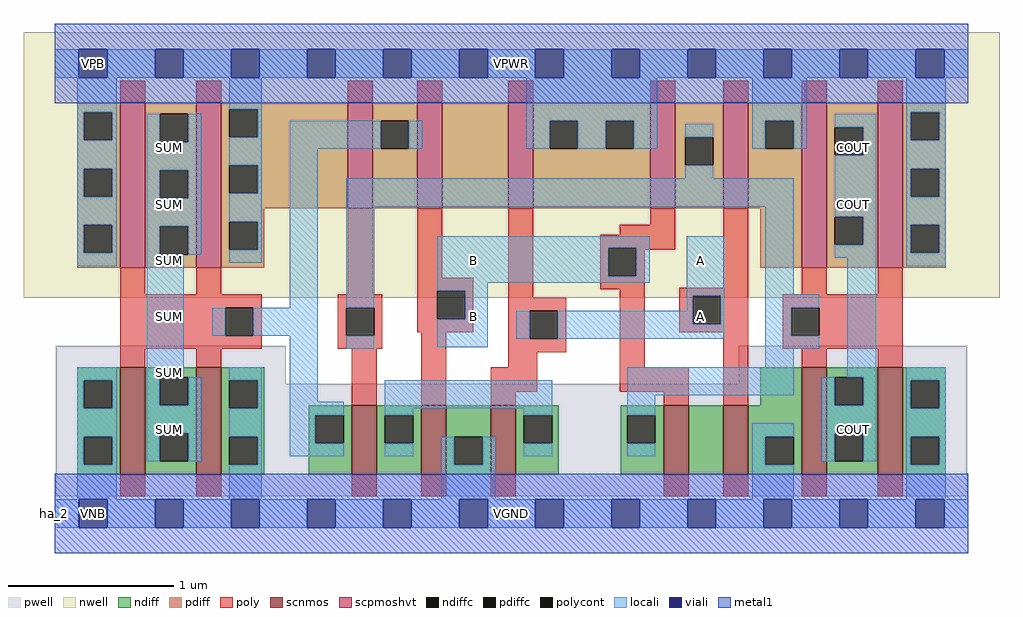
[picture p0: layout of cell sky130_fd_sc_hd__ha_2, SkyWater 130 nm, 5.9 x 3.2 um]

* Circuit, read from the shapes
.subckt sky130_fd_sc_hd__ha_2 A B VGND VNB VPB VPWR COUT SUM
XM1 SUM n1 VGND VNB sky130_fd_pr__nfet_01v8 w=0.65 l=0.15 m=2
XM2 n2 n3 n1 VNB sky130_fd_pr__nfet_01v8 w=0.42 l=0.15
XM3 VGND B n2 VNB sky130_fd_pr__nfet_01v8 w=0.42 l=0.15
XM4 n2 A VGND VNB sky130_fd_pr__nfet_01v8 w=0.42 l=0.15
XM5 n4 B n3 VNB sky130_fd_pr__nfet_01v8 w=0.42 l=0.15
XM6 VGND A n4 VNB sky130_fd_pr__nfet_01v8 w=0.42 l=0.15
XM7 COUT n3 VGND VNB sky130_fd_pr__nfet_01v8 w=0.65 l=0.15 m=2
XM8 SUM n1 VPWR VPB sky130_fd_pr__pfet_01v8_hvt w=1 l=0.15 m=2
XM9 n1 n3 VPWR VPB sky130_fd_pr__pfet_01v8_hvt w=0.64 l=0.15
XM10 n5 B n1 VPB sky130_fd_pr__pfet_01v8_hvt w=0.64 l=0.15
XM11 VPWR A n5 VPB sky130_fd_pr__pfet_01v8_hvt w=0.64 l=0.15
XM12 n3 B VPWR VPB sky130_fd_pr__pfet_01v8_hvt w=0.64 l=0.15
XM13 VPWR A n3 VPB sky130_fd_pr__pfet_01v8_hvt w=0.64 l=0.15
XM14 COUT n3 VPWR VPB sky130_fd_pr__pfet_01v8_hvt w=1 l=0.15 m=2
.ends

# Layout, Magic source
magic
tech sky130A
magscale 1 2
<< nwell >>
rect -38 261 1142 582
<< pwell >>
rect 1 157 279 203
rect 827 157 1103 203
rect 1 21 1103 157
rect 30 -17 64 21
<< scnmos >>
rect 79 47 109 177
rect 171 47 201 177
rect 359 47 389 131
rect 443 47 473 131
rect 527 47 557 131
rect 736 47 766 131
rect 808 47 838 131
rect 903 47 933 177
rect 995 47 1025 177
<< scpmoshvt >>
rect 79 297 109 497
rect 171 297 201 497
rect 354 369 384 497
rect 438 369 468 497
rect 548 369 578 497
rect 720 369 750 497
rect 808 369 838 497
rect 903 297 933 497
rect 995 297 1025 497
<< ndiff >>
rect 27 161 79 177
rect 27 127 35 161
rect 69 127 79 161
rect 27 93 79 127
rect 27 59 35 93
rect 69 59 79 93
rect 27 47 79 59
rect 109 165 171 177
rect 109 131 127 165
rect 161 131 171 165
rect 109 97 171 131
rect 109 63 127 97
rect 161 63 171 97
rect 109 47 171 63
rect 201 161 253 177
rect 201 127 211 161
rect 245 127 253 161
rect 853 131 903 177
rect 201 93 253 127
rect 201 59 211 93
rect 245 59 253 93
rect 201 47 253 59
rect 307 119 359 131
rect 307 85 315 119
rect 349 85 359 119
rect 307 47 359 85
rect 389 119 443 131
rect 389 85 399 119
rect 433 85 443 119
rect 389 47 443 85
rect 473 93 527 131
rect 473 59 483 93
rect 517 59 527 93
rect 473 47 527 59
rect 557 119 609 131
rect 557 85 567 119
rect 601 85 609 119
rect 557 47 609 85
rect 684 119 736 131
rect 684 85 692 119
rect 726 85 736 119
rect 684 47 736 85
rect 766 47 808 131
rect 838 93 903 131
rect 838 59 859 93
rect 893 59 903 93
rect 838 47 903 59
rect 933 165 995 177
rect 933 131 943 165
rect 977 131 995 165
rect 933 97 995 131
rect 933 63 943 97
rect 977 63 995 97
rect 933 47 995 63
rect 1025 161 1077 177
rect 1025 127 1035 161
rect 1069 127 1077 161
rect 1025 93 1077 127
rect 1025 59 1035 93
rect 1069 59 1077 93
rect 1025 47 1077 59
<< pdiff >>
rect 27 485 79 497
rect 27 451 35 485
rect 69 451 79 485
rect 27 417 79 451
rect 27 383 35 417
rect 69 383 79 417
rect 27 349 79 383
rect 27 315 35 349
rect 69 315 79 349
rect 27 297 79 315
rect 109 483 171 497
rect 109 449 127 483
rect 161 449 171 483
rect 109 415 171 449
rect 109 381 127 415
rect 161 381 171 415
rect 109 347 171 381
rect 109 313 127 347
rect 161 313 171 347
rect 109 297 171 313
rect 201 489 354 497
rect 201 455 211 489
rect 245 455 354 489
rect 201 421 354 455
rect 201 387 211 421
rect 245 387 354 421
rect 201 369 354 387
rect 384 475 438 497
rect 384 441 394 475
rect 428 441 438 475
rect 384 369 438 441
rect 468 369 548 497
rect 578 475 720 497
rect 578 441 598 475
rect 632 441 666 475
rect 700 441 720 475
rect 578 369 720 441
rect 750 455 808 497
rect 750 421 762 455
rect 796 421 808 455
rect 750 369 808 421
rect 838 475 903 497
rect 838 441 859 475
rect 893 441 903 475
rect 838 369 903 441
rect 201 353 253 369
rect 201 319 211 353
rect 245 319 253 353
rect 201 297 253 319
rect 853 297 903 369
rect 933 467 995 497
rect 933 433 943 467
rect 977 433 995 467
rect 933 359 995 433
rect 933 325 943 359
rect 977 325 995 359
rect 933 297 995 325
rect 1025 485 1077 497
rect 1025 451 1035 485
rect 1069 451 1077 485
rect 1025 417 1077 451
rect 1025 383 1035 417
rect 1069 383 1077 417
rect 1025 349 1077 383
rect 1025 315 1035 349
rect 1069 315 1077 349
rect 1025 297 1077 315
<< ndiffc >>
rect 35 127 69 161
rect 35 59 69 93
rect 127 131 161 165
rect 127 63 161 97
rect 211 127 245 161
rect 211 59 245 93
rect 315 85 349 119
rect 399 85 433 119
rect 483 59 517 93
rect 567 85 601 119
rect 692 85 726 119
rect 859 59 893 93
rect 943 131 977 165
rect 943 63 977 97
rect 1035 127 1069 161
rect 1035 59 1069 93
<< pdiffc >>
rect 35 451 69 485
rect 35 383 69 417
rect 35 315 69 349
rect 127 449 161 483
rect 127 381 161 415
rect 127 313 161 347
rect 211 455 245 489
rect 211 387 245 421
rect 394 441 428 475
rect 598 441 632 475
rect 666 441 700 475
rect 762 421 796 455
rect 859 441 893 475
rect 211 319 245 353
rect 943 433 977 467
rect 943 325 977 359
rect 1035 451 1069 485
rect 1035 383 1069 417
rect 1035 315 1069 349
<< poly >>
rect 79 497 109 523
rect 171 497 201 523
rect 354 497 384 523
rect 438 497 468 523
rect 548 497 578 523
rect 720 497 750 523
rect 808 497 838 523
rect 903 497 933 523
rect 995 497 1025 523
rect 79 265 109 297
rect 171 265 201 297
rect 354 265 384 369
rect 438 285 468 369
rect 438 269 506 285
rect 79 249 250 265
rect 79 215 206 249
rect 240 215 250 249
rect 79 199 250 215
rect 342 249 396 265
rect 342 215 352 249
rect 386 215 396 249
rect 438 235 462 269
rect 496 235 506 269
rect 438 219 506 235
rect 548 261 578 369
rect 720 349 750 369
rect 683 337 750 349
rect 659 321 750 337
rect 659 287 669 321
rect 703 319 750 321
rect 703 287 713 319
rect 659 271 713 287
rect 808 273 838 369
rect 548 245 618 261
rect 342 199 396 215
rect 79 177 109 199
rect 171 177 201 199
rect 359 131 389 199
rect 443 131 473 219
rect 548 211 574 245
rect 608 211 618 245
rect 548 195 618 211
rect 548 177 583 195
rect 527 147 583 177
rect 683 177 713 271
rect 755 263 838 273
rect 903 265 933 297
rect 995 265 1025 297
rect 755 229 771 263
rect 805 229 838 263
rect 755 219 838 229
rect 683 147 766 177
rect 527 131 557 147
rect 736 131 766 147
rect 808 131 838 219
rect 880 249 1025 265
rect 880 215 890 249
rect 924 215 1025 249
rect 880 199 1025 215
rect 903 177 933 199
rect 995 177 1025 199
rect 79 21 109 47
rect 171 21 201 47
rect 359 21 389 47
rect 443 21 473 47
rect 527 21 557 47
rect 736 21 766 47
rect 808 21 838 47
rect 903 21 933 47
rect 995 21 1025 47
<< polycont >>
rect 206 215 240 249
rect 352 215 386 249
rect 462 235 496 269
rect 669 287 703 321
rect 574 211 608 245
rect 771 229 805 263
rect 890 215 924 249
<< locali >>
rect 0 527 29 561
rect 63 527 121 561
rect 155 527 213 561
rect 247 527 305 561
rect 339 527 397 561
rect 431 527 489 561
rect 523 527 581 561
rect 615 527 673 561
rect 707 527 765 561
rect 799 527 857 561
rect 891 527 949 561
rect 983 527 1041 561
rect 1075 527 1104 561
rect 27 485 75 527
rect 27 451 35 485
rect 69 451 75 485
rect 211 489 250 527
rect 27 417 75 451
rect 27 383 35 417
rect 69 383 75 417
rect 27 349 75 383
rect 27 315 35 349
rect 69 315 75 349
rect 27 299 75 315
rect 111 449 127 483
rect 161 449 177 483
rect 111 415 177 449
rect 111 381 127 415
rect 161 381 177 415
rect 111 347 177 381
rect 111 313 127 347
rect 161 313 177 347
rect 245 455 250 489
rect 570 475 728 527
rect 211 421 250 455
rect 245 387 250 421
rect 211 353 250 387
rect 245 319 250 353
rect 27 161 75 177
rect 27 127 35 161
rect 69 127 75 161
rect 27 93 75 127
rect 27 59 35 93
rect 69 59 75 93
rect 111 165 156 313
rect 211 303 250 319
rect 284 441 394 475
rect 428 441 444 475
rect 570 441 598 475
rect 632 441 666 475
rect 700 441 728 475
rect 843 475 909 527
rect 1029 485 1077 527
rect 762 455 796 471
rect 284 249 318 441
rect 843 441 859 475
rect 893 441 909 475
rect 943 467 993 483
rect 762 405 796 421
rect 977 433 993 467
rect 190 215 206 249
rect 240 215 318 249
rect 111 131 127 165
rect 161 131 177 165
rect 111 97 177 131
rect 111 63 127 97
rect 161 63 177 97
rect 211 161 250 177
rect 245 127 250 161
rect 211 93 250 127
rect 27 17 75 59
rect 245 59 250 93
rect 284 135 318 215
rect 352 371 893 405
rect 352 249 386 371
rect 352 199 386 215
rect 462 321 719 335
rect 462 287 669 321
rect 703 287 719 321
rect 462 279 719 287
rect 462 269 523 279
rect 496 235 523 269
rect 764 263 809 335
rect 764 245 771 263
rect 462 201 523 235
rect 558 211 574 245
rect 608 229 771 245
rect 805 229 809 263
rect 608 211 809 229
rect 859 265 893 371
rect 943 359 993 433
rect 977 325 993 359
rect 943 309 993 325
rect 859 249 924 265
rect 859 215 890 249
rect 859 199 924 215
rect 859 177 893 199
rect 284 119 349 135
rect 284 85 315 119
rect 284 69 349 85
rect 399 127 601 161
rect 399 119 433 127
rect 567 119 601 127
rect 399 69 433 85
rect 211 17 250 59
rect 467 59 483 93
rect 517 59 533 93
rect 567 69 601 85
rect 692 143 893 177
rect 958 165 993 309
rect 1029 451 1035 485
rect 1069 451 1077 485
rect 1029 417 1077 451
rect 1029 383 1035 417
rect 1069 383 1077 417
rect 1029 349 1077 383
rect 1029 315 1035 349
rect 1069 315 1077 349
rect 1029 299 1077 315
rect 692 119 726 143
rect 927 131 943 165
rect 977 131 993 165
rect 692 69 726 85
rect 843 93 893 109
rect 467 17 533 59
rect 843 59 859 93
rect 927 97 993 131
rect 927 63 943 97
rect 977 63 993 97
rect 1029 161 1077 177
rect 1029 127 1035 161
rect 1069 127 1077 161
rect 1029 93 1077 127
rect 843 17 893 59
rect 1029 59 1035 93
rect 1069 59 1077 93
rect 1029 17 1077 59
rect 0 -17 29 17
rect 63 -17 121 17
rect 155 -17 213 17
rect 247 -17 305 17
rect 339 -17 397 17
rect 431 -17 489 17
rect 523 -17 581 17
rect 615 -17 673 17
rect 707 -17 765 17
rect 799 -17 857 17
rect 891 -17 949 17
rect 983 -17 1041 17
rect 1075 -17 1104 17
<< viali >>
rect 29 527 63 561
rect 121 527 155 561
rect 213 527 247 561
rect 305 527 339 561
rect 397 527 431 561
rect 489 527 523 561
rect 581 527 615 561
rect 673 527 707 561
rect 765 527 799 561
rect 857 527 891 561
rect 949 527 983 561
rect 1041 527 1075 561
rect 29 -17 63 17
rect 121 -17 155 17
rect 213 -17 247 17
rect 305 -17 339 17
rect 397 -17 431 17
rect 489 -17 523 17
rect 581 -17 615 17
rect 673 -17 707 17
rect 765 -17 799 17
rect 857 -17 891 17
rect 949 -17 983 17
rect 1041 -17 1075 17
<< metal1 >>
rect 0 561 1104 592
rect 0 527 29 561
rect 63 527 121 561
rect 155 527 213 561
rect 247 527 305 561
rect 339 527 397 561
rect 431 527 489 561
rect 523 527 581 561
rect 615 527 673 561
rect 707 527 765 561
rect 799 527 857 561
rect 891 527 949 561
rect 983 527 1041 561
rect 1075 527 1104 561
rect 0 496 1104 527
rect 0 17 1104 48
rect 0 -17 29 17
rect 63 -17 121 17
rect 155 -17 213 17
rect 247 -17 305 17
rect 339 -17 397 17
rect 431 -17 489 17
rect 523 -17 581 17
rect 615 -17 673 17
rect 707 -17 765 17
rect 799 -17 857 17
rect 891 -17 949 17
rect 983 -17 1041 17
rect 1075 -17 1104 17
rect 0 -48 1104 -17
<< labels >>
flabel pwell s 30 -17 64 17 0 FreeSans 200 0 0 0 VNB
port 4 nsew ground bidirectional
flabel nwell s 30 527 64 561 0 FreeSans 200 0 0 0 VPB
port 5 nsew power bidirectional
flabel metal1 s 30 -17 64 17 0 FreeSans 200 0 0 0 VGND
port 3 nsew ground bidirectional abutment
flabel metal1 s 30 527 64 561 0 FreeSans 200 0 0 0 VPWR
port 6 nsew power bidirectional abutment
flabel locali s 764 221 798 255 0 FreeSans 340 0 0 0 A
port 1 nsew signal input
flabel locali s 948 357 982 391 0 FreeSans 340 0 0 0 COUT
port 7 nsew signal output
flabel locali s 948 85 982 119 0 FreeSans 340 0 0 0 COUT
port 7 nsew signal output
flabel locali s 122 85 156 119 0 FreeSans 340 0 0 0 SUM
port 8 nsew signal output
flabel locali s 122 153 156 187 0 FreeSans 340 0 0 0 SUM
port 8 nsew signal output
flabel locali s 122 221 156 255 0 FreeSans 340 0 0 0 SUM
port 8 nsew signal output
flabel locali s 122 289 156 323 0 FreeSans 340 0 0 0 SUM
port 8 nsew signal output
flabel locali s 122 357 156 391 0 FreeSans 340 0 0 0 SUM
port 8 nsew signal output
flabel locali s 122 425 156 459 0 FreeSans 340 0 0 0 SUM
port 8 nsew signal output
flabel locali s 948 425 982 459 0 FreeSans 340 0 0 0 COUT
port 7 nsew signal output
flabel locali s 764 289 798 323 0 FreeSans 340 0 0 0 A
port 1 nsew signal input
flabel locali s 489 289 523 323 0 FreeSans 340 0 0 0 B
port 2 nsew signal input
flabel locali s 489 221 523 255 0 FreeSans 340 0 0 0 B
port 2 nsew signal input
rlabel comment s 0 0 0 0 4 ha_2
rlabel metal1 s 0 -48 1104 48 1 VGND
port 3 nsew ground bidirectional abutment
rlabel metal1 s 0 496 1104 592 1 VPWR
port 6 nsew power bidirectional abutment
<< properties >>
string FIXED_BBOX 0 0 1104 544
string GDS_END 2176774
string GDS_FILE $PDKPATH/libs.ref/sky130_fd_sc_hd/gds/sky130_fd_sc_hd.gds
string GDS_START 2167204
string LEFclass CORE
string LEFsite unithd
string LEFsymmetry X Y R90
string path 14.600 1.725 14.600 3.600 10.400 3.600 10.400 1.725 
<< end >>
